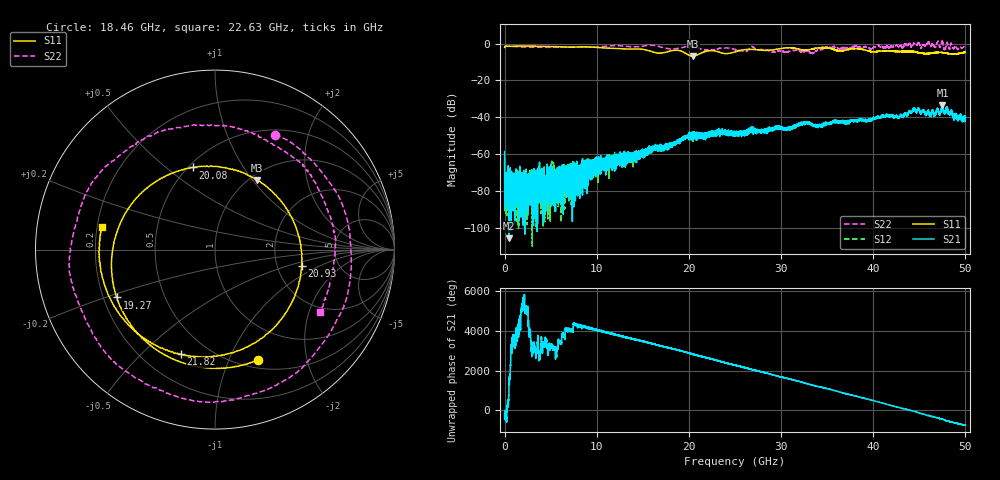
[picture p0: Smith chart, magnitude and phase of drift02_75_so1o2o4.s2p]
!Created with skrf (http://scikit-rf.org).
# Hz S RI R 50.0
!freq ReS11 ImS11 ReS21 ImS21 ReS12 ImS12 ReS22 ImS22
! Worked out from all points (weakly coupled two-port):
!   10001 points, 300 kHz to 50 GHz, reference 50 ohm
!   highest |S21| = -33.46 dB at 47.52 GHz (marker M1); lowest = -105.6 dB at 450.3 MHz (marker M2)
!   lowest |S11| = -6.9 dB at 20.41 GHz (marker M3), VSWR 2.64, Z = 54.1 + j52.4 ohm
!   |S11| at or under -10 dB: nowhere
!   |S22| runs from -5.3 to 1.7 dB; largest |S21 - S12| = 0.003
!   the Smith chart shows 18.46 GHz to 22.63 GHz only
!   S11 on the Smith chart (normalised r, x): 18.46 GHz: 0.59, -1.28; 19.27 GHz: 0.26, -0.22; 20.08 GHz: 0.53, +0.62; 20.93 GHz: 2.75, -0.67; 21.82 GHz: 0.35, -0.66; 22.63 GHz: 0.22, +0.09
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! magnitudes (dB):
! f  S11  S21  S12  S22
! 300 kHz  -2.1  -58.5  -64.2  -1.3
! 255.3 MHz  -1.4  -82.6  -93.3  -1.4
! 450.3 MHz  -1.5  -105.6  -67.7  -1.4
! 3.9 GHz  -1.5  -78.3  -74.3  -2.0
! 4.585 GHz  -1.6  -77.1  -72.1  -2.0
! 8.335 GHz  -1.7  -70.7  -70.3  -1.9
! 16.67 GHz  -5.2  -56.7  -57.1  -1.4
! 18.46 GHz  -3.6  -54.5  -54.0  -2.8
! 19.27 GHz  -4.3  -52.5  -51.6  -2.1
! 20.08 GHz  -6.5  -51.0  -49.0  -1.5
! 20.41 GHz  -6.9  -48.5  -51.0  -1.7
! 20.93 GHz  -6.2  -49.5  -49.6  -2.2
! 21.82 GHz  -4.2  -49.1  -49.8  -3.5
! 22.63 GHz  -3.8  -48.0  -48.5  -3.3
! 25 GHz  -4.5  -48.4  -48.6  -3.2
! 26.11 GHz  -3.3  -49.5  -49.1  -4.3
! 26.9 GHz  -3.2  -45.7  -46.4  -1.7
! 33.34 GHz  -3.0  -44.6  -44.0  -5.2
! 34.89 GHz  -2.1  -43.4  -43.2  -2.3
! 41.67 GHz  -4.0  -39.4  -39.2  -2.1
! 47.52 GHz  -4.8  -33.5  -33.8  1.2
! 50 GHz  -4.7  -39.7  -39.7  -1.5
